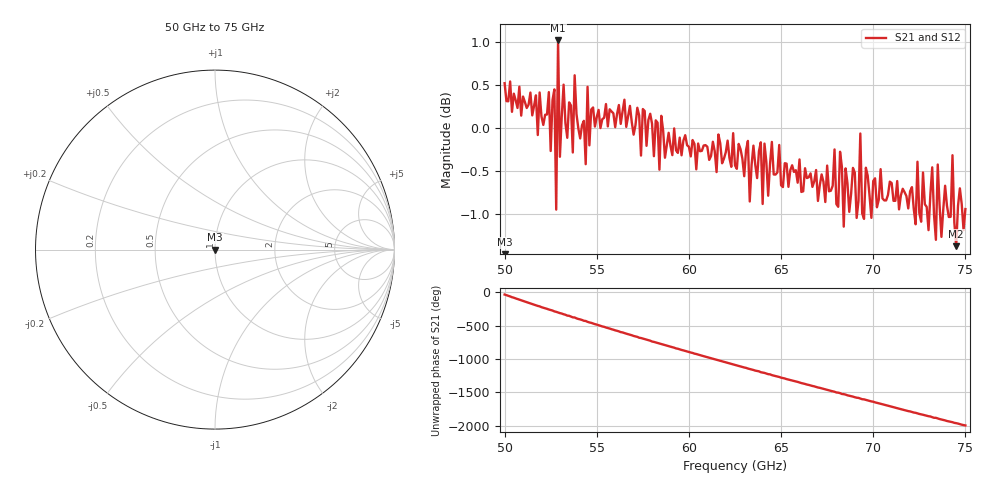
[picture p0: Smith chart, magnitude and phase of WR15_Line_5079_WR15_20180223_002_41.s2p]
# GHZ S RI R 50
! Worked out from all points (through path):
!   251 points, 50 GHz to 75 GHz, reference 50 ohm
!   highest |S21| = 1.01 dB at 52.9 GHz (marker M1); lowest = -1.4 dB at 74.5 GHz (marker M2)
!   lowest |S11| = - dB at 50 GHz (marker M3), VSWR 1.00, Z = 50 - j1.35e-15 ohm
!   |S11| at or under -10 dB: start of sweep to end of sweep
!   |S22| runs from - to - dB; largest |S21 - S12| = 1.4e-15
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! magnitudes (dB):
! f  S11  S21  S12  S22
! 50 GHz  -  0.5  0.5  -
! 52.4 GHz  -  0.4  0.4  -
! 52.5 GHz  -  -0.3  -0.3  -
! 52.7 GHz  -  0.4  0.4  -
! 52.8 GHz  -  -0.9  -0.9  -
! 52.9 GHz  -  1.0  1.0  -
! 53 GHz  -  -0.3  -0.3  -
! 53.2 GHz  -  0.5  0.5  -
! 54.2 GHz  -  0.0  0.0  -
! 58.4 GHz  -  -0.5  -0.5  -
! 62.5 GHz  -  -0.4  -0.4  -
! 66.7 GHz  -  -0.7  -0.7  -
! 70.9 GHz  -  -0.6  -0.6  -
! 72.4 GHz  -  -0.4  -0.4  -
! 73 GHz  -  -1.2  -1.2  -
! 73.2 GHz  -  -0.5  -0.5  -
! 73.4 GHz  -  -1.3  -1.3  -
! 73.5 GHz  -  -0.4  -0.4  -
! 73.7 GHz  -  -1.3  -1.3  -
! 74.3 GHz  -  -0.3  -0.3  -
! 74.5 GHz  -  -1.4  -1.4  -
! 75 GHz  -  -0.9  -0.9  -
